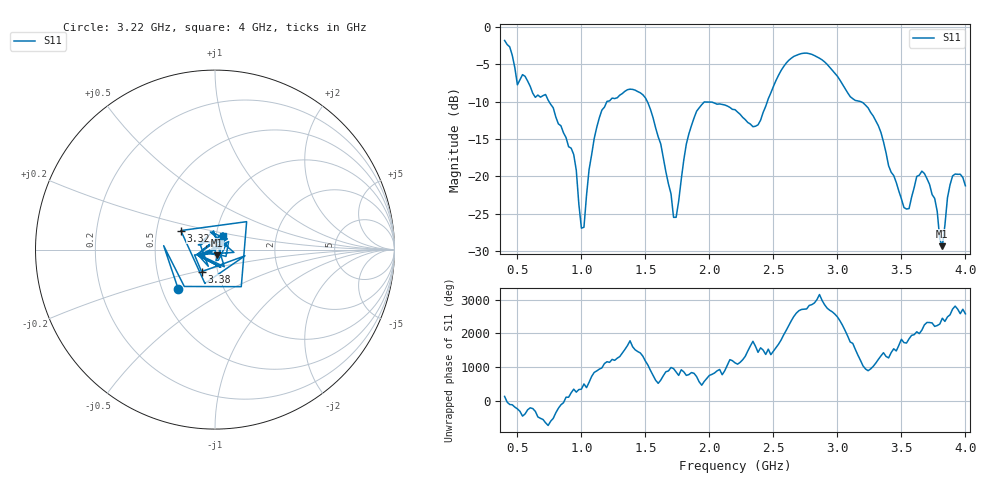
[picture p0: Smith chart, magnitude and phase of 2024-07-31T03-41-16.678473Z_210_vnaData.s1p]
!Created with skrf (http://scikit-rf.org).
# Hz S RI R 50.0
!freq ReS11 ImS11
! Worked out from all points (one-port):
!   181 points, 400 MHz to 4 GHz, reference 50 ohm
!   lowest |S11| = -29.3 dB at 3.82 GHz (marker M1), VSWR 1.07, Z = 51.1 - j3.3 ohm
!   |S11| at or under -10 dB: 746.8 MHz to 1.199 GHz (452.5 MHz wide, 46.5 % of centre); 1.515 GHz to 2.453 GHz (937.7 MHz wide, 47.3 % of centre); 3.18 GHz to end of sweep
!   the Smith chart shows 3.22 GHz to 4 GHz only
!   S11 on the Smith chart (normalised r, x): 3.22 GHz: 0.61, -0.29; 3.32 GHz: 0.67, +0.15; 3.38 GHz: 0.84, -0.21; 4 GHz: 1.08, +0.16
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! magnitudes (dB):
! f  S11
! 400 MHz  -1.8
! 500 MHz  -7.8
! 720 MHz  -9.1
! 860 MHz  -14.2
! 940 MHz  -17.1
! 1 GHz  -26.9
! 1.02 GHz  -26.8
! 1.06 GHz  -19.1
! 1.12 GHz  -13.4
! 1.3 GHz  -9.1
! 1.5 GHz  -9.5
! 1.62 GHz  -15.7
! 1.72 GHz  -25.5
! 1.76 GHz  -23.3
! 1.82 GHz  -15.7
! 1.9 GHz  -11.3
! 2.2 GHz  -11.1
! 2.38 GHz  -13.1
! 2.66 GHz  -4.0
! 3.1 GHz  -9.3
! 3.22 GHz  -10.5
! 3.32 GHz  -13.2
! 3.38 GHz  -16.8
! 3.56 GHz  -24.3
! 3.68 GHz  -19.6
! 3.82 GHz  -29.3
! 3.9 GHz  -19.9
! 4 GHz  -21.2
